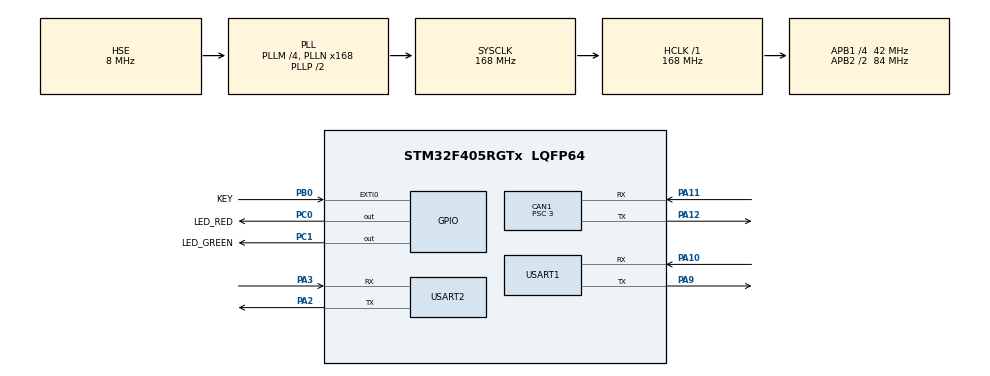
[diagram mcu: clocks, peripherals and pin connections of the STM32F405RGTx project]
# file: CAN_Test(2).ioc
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Mcu.Family=STM32F4
CAN1.NART=DISABLE
PH0-OSC_IN.Signal=RCC_OSC_IN
RCC.CortexFreq_Value=168000000
Dma.USART2_TX.1.MemInc=DMA_MINC_ENABLE
Dma.USART1_RX.2.Instance=DMA2_Stream2
PC0.GPIO_Label=LED_RED
PA11.Mode=Master
PB0.GPIO_Label=KEY
RCC.SYSCLKSource=RCC_SYSCLKSOURCE_PLLCLK
ProjectManager.StackSize=0x400
FREERTOS.INCLUDE_pcTaskGetTaskName=1
PA12.Signal=CAN1_TX
Dma.USART2_RX.0.Priority=DMA_PRIORITY_LOW
Dma.USART2_RX.0.PeriphDataAlignment=DMA_PDATAALIGN_BYTE
RCC.HCLKFreq_Value=168000000
RCC.APB2TimFreq_Value=168000000
TIM3.Period=999
Dma.USART2_TX.1.Mode=DMA_NORMAL
PC1.PinState=GPIO_PIN_SET
RCC.AHBFreq_Value=168000000
PH0-OSC_IN.Mode=HSE-External-Oscillator
RCC.HSE_VALUE=8000000
PC1.GPIO_PuPd=GPIO_PULLUP
Dma.USART2_RX.0.MemDataAlignment=DMA_MDATAALIGN_BYTE
FREERTOS.INCLUDE_xQueueGetMutexHolder=1
PA14.Mode=Serial_Wire
Dma.USART2_TX.1.Instance=DMA1_Stream6
TIM3.Prescaler=83
Dma.USART2_RX.0.Instance=DMA1_Stream5
VP_FREERTOS_VS_CMSIS_V1.Mode=CMSIS_V1
PH1-OSC_OUT.Mode=HSE-External-Oscillator
CAN1.Prescaler=3
Mcu.Package=LQFP64
Dma.USART2_RX.0.PeriphInc=DMA_PINC_DISABLE
USART2.VirtualMode=VM_ASYNC
Dma.USART2_RX.0.FIFOMode=DMA_FIFOMODE_DISABLE
PA10.Signal=USART1_RX
RCC.APB2CLKDivider=RCC_HCLK_DIV2
NVIC.DMA2_Stream2_IRQn=true\:5\:0\:false\:false\:true\:true\:false\:true
Dma.Request2=USART1_RX
Dma.Request1=USART2_TX
RCC.APB1TimFreq_Value=84000000
PC0.GPIO_PuPd=GPIO_PULLUP
NVIC.USART1_IRQn=true\:5\:0\:false\:false\:true\:true\:true\:true
NVIC.DMA1_Stream6_IRQn=true\:5\:0\:false\:false\:true\:true\:false\:true
Dma.Request0=USART2_RX
PC0.PinState=GPIO_PIN_SET
VP_TIM3_VS_ClockSourceINT.Mode=Internal
Dma.USART1_RX.2.MemDataAlignment=DMA_MDATAALIGN_BYTE
PA3.Signal=USART2_RX
CAN1.CalculateTimeQuantum=71.42857142857143
RCC.PLLSourceVirtual=RCC_PLLSOURCE_HSE
Dma.USART2_TX.1.Priority=DMA_PRIORITY_LOW
FREERTOS.Tasks01=defaultTask,0,128,StartDefaultTask,Default,NULL,Dynamic,NULL,NULL;start_Task,-3,128,StartTask02,Default,NULL,Dynamic,NULL,NULL
PA10.Mode=Asynchronous
Dma.USART2_TX.1.FIFOMode=DMA_FIFOMODE_DISABLE
TIM3.AutoReloadPreload=TIM_AUTORELOAD_PRELOAD_ENABLE
FREERTOS.INCLUDE_vTaskDelayUntil=1
Dma.USART2_RX.0.Direction=DMA_PERIPH_TO_MEMORY
PC0.Signal=GPIO_Output
RCC.APB1CLKDivider=RCC_HCLK_DIV4
Dma.USART2_TX.1.PeriphDataAlignment=DMA_PDATAALIGN_BYTE
Dma.USART1_RX.2.PeriphInc=DMA_PINC_DISABLE
NVIC.USART2_IRQn=true\:5\:0\:false\:false\:true\:true\:true\:true
Dma.USART2_RX.0.Mode=DMA_NORMAL
FREERTOS.INCLUDE_uxTaskGetStackHighWaterMark=0
PA13.Signal=SYS_JTMS-SWDIO
PA3.Mode=Asynchronous
PA9.Mode=Asynchronous
CAN1.BS2=CAN_BS2_6TQ
CAN1.BS1=CAN_BS1_7TQ
ProjectManager.TargetToolchain=MDK-ARM V5.27
NVIC.DMA1_Stream5_IRQn=true\:5\:0\:false\:false\:true\:true\:false\:true
Dma.USART1_RX.2.Mode=DMA_NORMAL
Dma.USART1_RX.2.PeriphDataAlignment=DMA_PDATAALIGN_BYTE
PA9.Signal=USART1_TX
RCC.LSE_VALUE=32768
Dma.USART2_TX.1.PeriphInc=DMA_PINC_DISABLE
board=custom
Dma.USART1_RX.2.FIFOMode=DMA_FIFOMODE_DISABLE
RCC.VCOOutputFreq_Value=336000000
Dma.USART1_RX.2.Priority=DMA_PRIORITY_LOW
NVIC.TIM3_IRQn=true\:5\:0\:false\:false\:true\:true\:true\:true
Dma.USART2_TX.1.Direction=DMA_MEMORY_TO_PERIPH
RCC.APB2Freq_Value=84000000
Dma.USART1_RX.2.Direction=DMA_PERIPH_TO_MEMORY
PC1.GPIO_Label=LED_GREEN
PH1-OSC_OUT.Signal=RCC_OSC_OUT
PA13.Mode=Serial_Wire
Mcu.Name=STM32F405RGTx
Dma.USART2_RX.0.MemInc=DMA_MINC_ENABLE
Dma.USART1_RX.2.MemInc=DMA_MINC_ENABLE
FREERTOS.INCLUDE_xSemaphoreGetMutexHolder=1
PA2.Signal=USART2_TX
RCC.48MHZClocksFreq_Value=84000000
NVIC.EXTI0_IRQn=true\:5\:0\:false\:false\:true\:true\:true\:true
RCC.SYSCLKFreq_VALUE=168000000
PA12.Mode=Master
USART1.VirtualMode=VM_ASYNC
PA11.Signal=CAN1_RX
PA14.Signal=SYS_JTCK-SWCLK
ProjectManager.HeapSize=0x200
RCC.HSI_VALUE=16000000
NVIC.PriorityGroup=NVIC_PRIORITYGROUP_4
RCC.PLLM=4
RCC.PLLN=168
PA2.Mode=Asynchronous
Dma.USART2_TX.1.MemDataAlignment=DMA_MDATAALIGN_BYTE
RCC.APB1Freq_Value=42000000
PB0.Signal=GPXTI0
PC1.Signal=GPIO_Output
NVIC.CAN1_RX0_IRQn=true\:5\:0\:false\:false\:true\:true\:true\:true

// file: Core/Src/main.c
/* USER CODE BEGIN Header */
/**
  ******************************************************************************
  * @file           : main.c
  * @brief          : Main program body
  ******************************************************************************
  * @attention
  *
  * <h2><center>&copy; Copyright (c) 2020 STMicroelectronics.
  * All rights reserved.</center></h2>
  *
  * This software component is licensed by ST under BSD 3-Clause license,
  * the "License"; You may not use this file except in compliance with the
  * License. You may obtain a copy of the License at:
  *                        opensource.org/licenses/BSD-3-Clause
  *
  ******************************************************************************
  */
/* USER CODE END Header */
#include "main.h"
#include "cmsis_os.h"
#include "can.h"
#include "dma.h"
#include "tim.h"
#include "usart.h"
#include "gpio.h"
#include "remote.h"

/* USER CODE BEGIN Includes */
#include "robo_base.h"
/* USER CODE END Includes */

/* USER CODE BEGIN PV */
uint32_t SYS_Time=0;
int Flag=0;
extern ROBO_BASE Robo_Base;
#define RX_LENGTH 20
extern uint8_t Rx_buffer[RX_LENGTH];
extern UART_HandleTypeDef huart2;
/* USER CODE END PV */

void SystemClock_Config(void);
void MX_FREERTOS_Init(void);

int main(void)
{

  /* MCU Configuration--------------------------------------------------------*/

  /* Reset of all peripherals, Initializes the Flash interface and the Systick. */
  HAL_Init();

  /* Configure the system clock */
  SystemClock_Config();

  /* Initialize all configured peripherals */
  MX_GPIO_Init();
  MX_DMA_Init();
  MX_CAN1_Init();
  MX_TIM3_Init();
  MX_USART2_UART_Init();
  MX_USART1_UART_Init();
  /* USER CODE BEGIN 2 */
  CAN_Filter_Init();
  HAL_TIM_Base_Start_IT(&htim3);
  HAL_CAN_Start(&hcan1);
  HAL_CAN_ActivateNotification(&hcan1,CAN_IT_RX_FIFO0_MSG_PENDING);
//  PID_Init(&Pid,11,1.8,0,5000,0,5000,8000);
	BASE_Init(&Robo_Base);
	Remote_Init();
/************************************************************************************/
	//TIM1_Int_Init(2000-1,84-1);
/************************************************************************************/
  /* USER CODE END 2 */

  /* Call init function for freertos objects (in freertos.c) */
//  MX_FREERTOS_Init();
  /* Start scheduler */
//  osKernelStart();

  /* We should never get here as control is now taken by the scheduler */
  /* Infinite loop */
	while (1)
  {

  }
}

void SystemClock_Config(void)
{
  RCC_OscInitTypeDef RCC_OscInitStruct = {0};
  RCC_ClkInitTypeDef RCC_ClkInitStruct = {0};

  /** Configure the main internal regulator output voltage
  */
  __HAL_RCC_PWR_CLK_ENABLE();
  __HAL_PWR_VOLTAGESCALING_CONFIG(PWR_REGULATOR_VOLTAGE_SCALE1);
  /** Initializes the RCC Oscillators according to the specified parameters
  * in the RCC_OscInitTypeDef structure.
  */
  RCC_OscInitStruct.OscillatorType = RCC_OSCILLATORTYPE_HSE;
  RCC_OscInitStruct.HSEState = RCC_HSE_ON;
  RCC_OscInitStruct.PLL.PLLState = RCC_PLL_ON;
  RCC_OscInitStruct.PLL.PLLSource = RCC_PLLSOURCE_HSE;
  RCC_OscInitStruct.PLL.PLLM = 4;
  RCC_OscInitStruct.PLL.PLLN = 168;
  RCC_OscInitStruct.PLL.PLLP = RCC_PLLP_DIV2;
  RCC_OscInitStruct.PLL.PLLQ = 4;
  if (HAL_RCC_OscConfig(&RCC_OscInitStruct) != HAL_OK)
  {
    Error_Handler();
  }
  /** Initializes the CPU, AHB and APB buses clocks
  */
  RCC_ClkInitStruct.ClockType = RCC_CLOCKTYPE_HCLK|RCC_CLOCKTYPE_SYSCLK
                              |RCC_CLOCKTYPE_PCLK1|RCC_CLOCKTYPE_PCLK2;
  RCC_ClkInitStruct.SYSCLKSource = RCC_SYSCLKSOURCE_PLLCLK;
  RCC_ClkInitStruct.AHBCLKDivider = RCC_SYSCLK_DIV1;
  RCC_ClkInitStruct.APB1CLKDivider = RCC_HCLK_DIV4;
  RCC_ClkInitStruct.APB2CLKDivider = RCC_HCLK_DIV2;

  if (HAL_RCC_ClockConfig(&RCC_ClkInitStruct, FLASH_LATENCY_5) != HAL_OK)
  {
    Error_Handler();
  }
}

/* USER CODE BEGIN 4 */
void Send_To_Motor(void)
{
  CAN_TxHeaderTypeDef TxHeader;
  extern uint8_t Tx_Data[8];
  uint32_t TxMailbox;

  TxHeader.RTR = 0;
  TxHeader.IDE = 0;
  TxHeader.StdId=0x200;
  TxHeader.TransmitGlobalTime = DISABLE;
  TxHeader.DLC = 8;

  if (HAL_CAN_AddTxMessage(&hcan1, &TxHeader, Tx_Data, &TxMailbox) != HAL_OK)
  {
   /* Transmission request Error */
     Error_Handler();
  }
}
/* USER CODE END 4 */

void Error_Handler(void)
{
}

/************************ (C) COPYRIGHT STMicroelectronics *****END OF FILE****/
